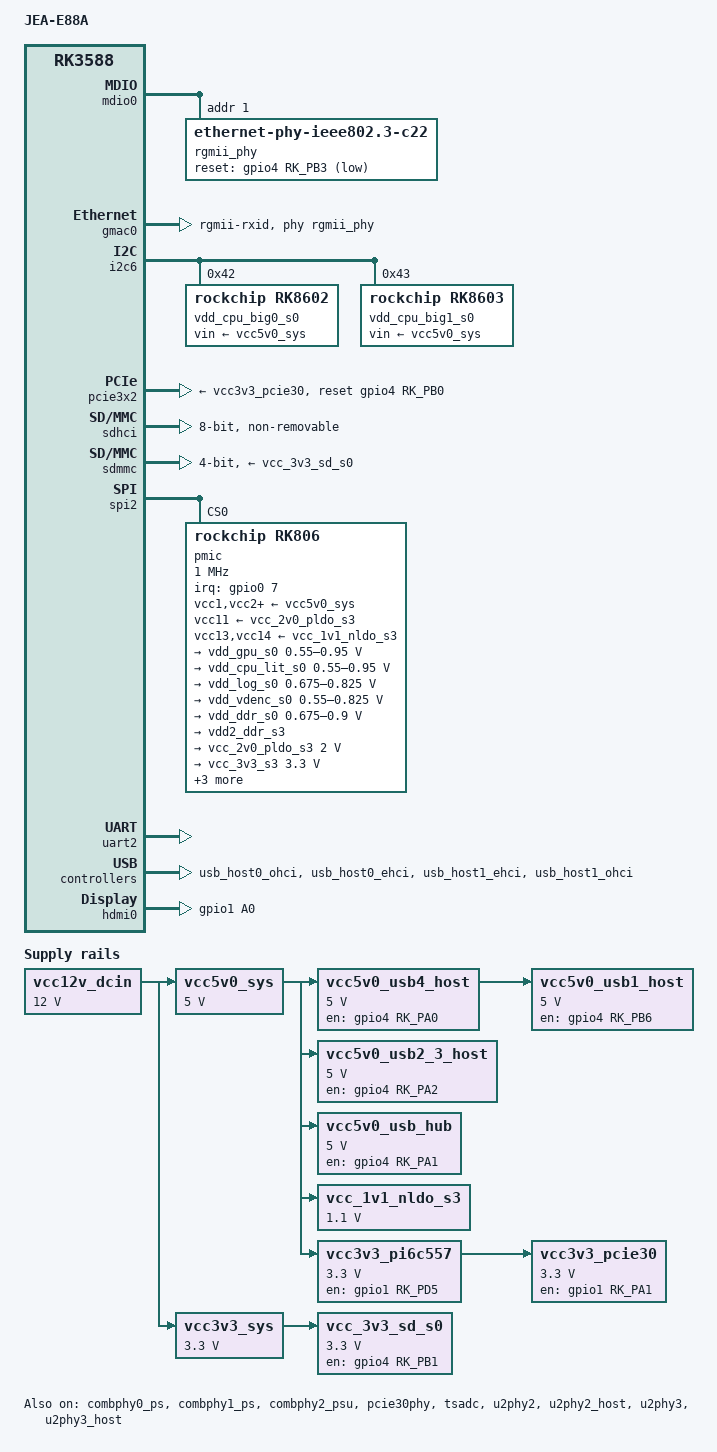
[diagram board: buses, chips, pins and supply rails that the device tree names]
// SPDX-License-Identifier: (GPL-2.0+ OR MIT)
/*
* Copyright (c) 2023 Ondřej Jirman <megi@xff.cz>
*/

/dts-v1/;

#include <dt-bindings/gpio/gpio.h>
#include <dt-bindings/leds/common.h>
#include <dt-bindings/input/input.h>
#include <dt-bindings/pinctrl/rockchip.h>
#include <dt-bindings/display/rockchip_vop.h>
#include <dt-bindings/usb/pd.h>
#include "rk3588.dtsi"

/ {
	model = "JEA-E88A";
	compatible = "jwipc,jea-e88a", "rockchip,rk3588";
	
	smbios {
		compatible = "u-boot,sysinfo-smbios";
		
		smbios {
			system {
				manufacturer = "JWIPC";
				product = "JEA-E88A";
			};
			
			baseboard {
				manufacturer = "JWIPC";
				product = "JEA-E88A";
			};
			
			chassis {
				manufacturer = "JWIPC";
				product = "JEA-E88A";
			};
		};
	};
	
	aliases {
		ethernet0 = &gmac0;
		mmc0 = &sdhci;
		mmc1 = &sdmmc;
		hdmi0 = &hdmi0;
		hdptxhdmi0 = &hdptxphy_hdmi0;
		dp0 = &dp0;
		usbdp0 = &usbdp_phy0;
		usbdp1 = &usbdp_phy1;
	};
	
	chosen {
		stdout-path = "serial2:1500000n8";
        u-boot,spl-boot-order = &sdmmc, &sdhci;
	};
	
	vcc12v_dcin: vcc12v-dcin {
		compatible = "regulator-fixed";
		regulator-always-on;
		regulator-boot-on;
		regulator-min-microvolt = <12000000>;
		regulator-max-microvolt = <12000000>;
		regulator-name = "vcc12v_dcin";
	};
	
	vcc5v0_sys: vcc5v0-sys-regulator {
		compatible = "regulator-fixed";
		regulator-name = "vcc5v0_sys";
		regulator-always-on;
		regulator-boot-on;
		regulator-min-microvolt = <5000000>;
		regulator-max-microvolt = <5000000>;
		vin-supply = <&vcc12v_dcin>;
	};
	
	vcc5v0_usb4_host: vcc5v0-usb4-host {
		compatible = "regulator-fixed";
		enable-active-high;
		gpio = <&gpio4 RK_PA0 GPIO_ACTIVE_HIGH>;
		pinctrl-names = "default";
		pinctrl-0 = <&usb4_pwr>;
		regulator-min-microvolt = <5000000>;
		regulator-max-microvolt = <5000000>;
		regulator-name = "vcc5v0_usb4_host";
		vin-supply = <&vcc5v0_sys>;
	};
	
	vcc5v0_usb1_host: vcc5v0-usb1-host {
		compatible = "regulator-fixed";
		enable-active-high;
		regulator-always-on;
		regulator-boot-on;
		gpio = <&gpio4 RK_PB6 GPIO_ACTIVE_HIGH>;
		pinctrl-names = "default";
		pinctrl-0 = <&usb1_pwr>;
		regulator-min-microvolt = <5000000>;
		regulator-max-microvolt = <5000000>;
		regulator-name = "vcc5v0_usb1_host";
		vin-supply = <&vcc5v0_usb4_host>;
	};
	
	vcc5v0_usb2_3_host: vcc5v0-usb2-3-host {
		compatible = "regulator-fixed";
		enable-active-high;
		gpio = <&gpio4 RK_PA2 GPIO_ACTIVE_HIGH>;
		pinctrl-names = "default";
		pinctrl-0 = <&usb2_3_pwr>;
		regulator-min-microvolt = <5000000>;
		regulator-max-microvolt = <5000000>;
		regulator-name = "vcc5v0_usb2_3_host";
		vin-supply = <&vcc5v0_sys>;
	};
	
	
	vcc5v0_usb_hub: vcc5v0-usb-hub {
		compatible = "regulator-fixed";
		enable-active-high;
		regulator-always-on;
		regulator-boot-on;
		gpio = <&gpio4 RK_PA1 GPIO_ACTIVE_HIGH>;
		pinctrl-names = "default";
		pinctrl-0 = <&gl3523_rst>;
		regulator-min-microvolt = <5000000>;
		regulator-max-microvolt = <5000000>;
		regulator-name = "vcc5v0_usb_hub";
		vin-supply = <&vcc5v0_sys>;
	};
	
	vcc3v3_sys: vcc3v3-sys {
		compatible = "regulator-fixed";
		regulator-name = "vcc3v3_sys";
		regulator-always-on;
		regulator-boot-on;
		regulator-min-microvolt = <3300000>;
		regulator-max-microvolt = <3300000>;
		vin-supply = <&vcc12v_dcin>;
	};
	
	vcc_3v3_sd_s0: vcc-3v3-sd-s0-regulator {
		compatible = "regulator-fixed";
		regulator-name = "vcc_3v3_sd_s0";
		regulator-min-microvolt = <3300000>;
		regulator-max-microvolt = <3300000>;
		enable-active-high;
		gpio = <&gpio4 RK_PB1 GPIO_ACTIVE_HIGH>;
		pinctrl-names = "default";
		pinctrl-0 = <&sd_s0_pwr>;
		vin-supply = <&vcc3v3_sys>;
	};
	
	vcc_1v1_nldo_s3: vcc-1v1-nldo-s3-regulator {
		compatible = "regulator-fixed";
		regulator-name = "vcc_1v1_nldo_s3";
		regulator-always-on;
		regulator-boot-on;
		regulator-min-microvolt = <1100000>;
		regulator-max-microvolt = <1100000>;
		vin-supply = <&vcc5v0_sys>;
	};
	
	vcc3v3_pi6c557: vcc3v3-pi6c557 {
		compatible = "regulator-fixed";
		regulator-name = "vcc3v3_pi6c557";
		regulator-min-microvolt = <3300000>;
		regulator-max-microvolt = <3300000>;
		regulator-always-on;
		regulator-boot-on;
		enable-active-high;
		gpio = <&gpio1 RK_PD5 GPIO_ACTIVE_HIGH>;
		startup-delay-us = <5000>;
		vin-supply = <&vcc5v0_sys>;
	};
	
	vcc3v3_pcie30: vcc3v3-pcie30 {
		compatible = "regulator-fixed";
		regulator-name = "vcc3v3_pcie30";
		regulator-min-microvolt = <3300000>;
		regulator-max-microvolt = <3300000>;
		enable-active-high;
		gpio = <&gpio1 RK_PA1 GPIO_ACTIVE_HIGH>;
		startup-delay-us = <5000>;
		vin-supply = <&vcc3v3_pi6c557>;
	};
};

&mdio0 {
	rgmii_phy: ethernet-phy@1 {
		/* RTL8211F */
		compatible = "ethernet-phy-ieee802.3-c22";
		reg = <0x1>;
		pinctrl-names = "default";
		pinctrl-0 = <&rtl8211f_rst>;
		reset-assert-us = <20000>;
		reset-deassert-us = <100000>;
		reset-gpios = <&gpio4 RK_PB3 GPIO_ACTIVE_LOW>;
	};
};

&gmac0 {
	clock_in_out = "output";
	phy-handle = <&rgmii_phy>;
	phy-mode = "rgmii-rxid";
	pinctrl-0 = <&gmac0_miim
	&gmac0_tx_bus2
	&gmac0_rx_bus2
	&gmac0_rgmii_clk
	&gmac0_rgmii_bus>;
	pinctrl-names = "default";
	rx_delay = <0x00>;
	tx_delay = <0x43>;
	status = "okay";
};

&combphy0_ps {
	status = "okay";
};

&combphy1_ps {
	status = "okay";
};

&combphy2_psu {
	status = "okay";
};

&cpu_b0 {
	cpu-supply = <&vdd_cpu_big0_s0>;
};

&cpu_b1 {
	cpu-supply = <&vdd_cpu_big0_s0>;
};

&cpu_b2 {
	cpu-supply = <&vdd_cpu_big1_s0>;
};

&cpu_b3 {
	cpu-supply = <&vdd_cpu_big1_s0>;
};

&cpu_l0 {
	cpu-supply = <&vdd_cpu_lit_s0>;
};

&cpu_l1 {
	cpu-supply = <&vdd_cpu_lit_s0>;
};

&cpu_l2 {
	cpu-supply = <&vdd_cpu_lit_s0>;
};

&cpu_l3 {
	cpu-supply = <&vdd_cpu_lit_s0>;
};

&i2c6 {
	status = "okay";
	
	vdd_cpu_big0_s0: regulator@42 {
		compatible = "rockchip,rk8602";
		reg = <0x42>;
		fcs,suspend-voltage-selector = <1>;
		regulator-name = "vdd_cpu_big0_s0";
		regulator-always-on;
		regulator-boot-on;
		regulator-min-microvolt = <550000>;
		regulator-max-microvolt = <1050000>;
		regulator-ramp-delay = <2300>;
		vin-supply = <&vcc5v0_sys>;
		
		regulator-state-mem {
			regulator-off-in-suspend;
		};
	};
	
	vdd_cpu_big1_s0: regulator@43 {
		compatible = "rockchip,rk8603", "rockchip,rk8602";
		reg = <0x43>;
		fcs,suspend-voltage-selector = <1>;
		regulator-name = "vdd_cpu_big1_s0";
		regulator-always-on;
		regulator-boot-on;
		regulator-min-microvolt = <550000>;
		regulator-max-microvolt = <1050000>;
		regulator-ramp-delay = <2300>;
		vin-supply = <&vcc5v0_sys>;
		
		regulator-state-mem {
			regulator-off-in-suspend;
		};
	};
};

&pcie30phy {
	data-lanes = <2 2 3>;
	status = "okay";
};

&pcie3x2 {
	reset-gpios = <&gpio4 RK_PB0 GPIO_ACTIVE_HIGH>;
	vpcie3v3-supply = <&vcc3v3_pcie30>;
	status = "okay";
};

&pinctrl {
	sdmmc {
		sd_s0_pwr: sd-s0-pwr {
			rockchip,pins = <4 RK_PB1 RK_FUNC_GPIO &pcfg_pull_up>;
		};
	};
	
	rtl8211f {
		rtl8211f_rst: rtl8211f-rst {
			rockchip,pins = <4 RK_PB3 RK_FUNC_GPIO &pcfg_pull_none>;
		};
	};

	usb {
		usb1_pwr: usb1-pwr {
			rockchip,pins = <4 RK_PB6 RK_FUNC_GPIO &pcfg_pull_up>;
		};
		
		usb2_3_pwr: usb2-3-pwr {
			rockchip,pins = <4 RK_PA2 RK_FUNC_GPIO &pcfg_pull_up>;
		};
		
		usb4_pwr: usb4-pwr {
			rockchip,pins = <4 RK_PA0 RK_FUNC_GPIO &pcfg_pull_up>;
		};
		
		gl3523_rst: gl3523-rst {
			rockchip,pins = <4 RK_PA1 RK_FUNC_GPIO &pcfg_pull_up>;
		};
	};
	
	hdmi0 {
		hdmi_pwren_gpio: hdmi-pwren-gpio {
			rockchip,pins = <1 RK_PA0 RK_FUNC_GPIO &pcfg_pull_up>;
		};
	};
};

&sdhci {
	bus-width = <8>;
	no-sdio;
	no-sd;
	non-removable;
	max-frequency = <200000000>;
	mmc-hs200-1_8v;
	status = "okay";
};

&sdmmc {
	max-frequency = <150000000>;
	no-sdio;
	no-mmc;
	bus-width = <4>;
	cap-mmc-highspeed;
	cap-sd-highspeed;
	disable-wp;
	sd-uhs-sdr104;
	vmmc-supply = <&vcc_3v3_sd_s0>;
	vqmmc-supply = <&vccio_sd_s0>;
	status = "okay";
};

&spi2 {
	assigned-clocks = <&cru CLK_SPI2>;
	assigned-clock-rates = <200000000>;
	num-cs = <1>;
	pinctrl-names = "default";
	pinctrl-0 = <&spi2m2_cs0 &spi2m2_pins>;
	status = "okay";
	
	pmic@0 {
		compatible = "rockchip,rk806";
		reg = <0x0>;
		interrupt-parent = <&gpio0>;
		interrupts = <7 IRQ_TYPE_LEVEL_LOW>;
		pinctrl-names = "default", "pmic-power-off";
		pinctrl-0 = <&pmic_pins>, <&rk806_dvs1_null>,
		<&rk806_dvs2_null>, <&rk806_dvs3_null>;
		pinctrl-1 = <&rk806_dvs1_pwrdn>;
		spi-max-frequency = <1000000>;
		
		vcc1-supply = <&vcc5v0_sys>;
		vcc2-supply = <&vcc5v0_sys>;
		vcc3-supply = <&vcc5v0_sys>;
		vcc4-supply = <&vcc5v0_sys>;
		vcc5-supply = <&vcc5v0_sys>;
		vcc6-supply = <&vcc5v0_sys>;
		vcc7-supply = <&vcc5v0_sys>;
		vcc8-supply = <&vcc5v0_sys>;
		vcc9-supply = <&vcc5v0_sys>;
		vcc10-supply = <&vcc5v0_sys>;
		vcc11-supply = <&vcc_2v0_pldo_s3>;
		vcc12-supply = <&vcc5v0_sys>;
		vcc13-supply = <&vcc_1v1_nldo_s3>;
		vcc14-supply = <&vcc_1v1_nldo_s3>;
		vcca-supply = <&vcc5v0_sys>;
		
		gpio-controller;
		#gpio-cells = <2>;
		
		rk806_dvs1_null: dvs1-null-pins {
			pins = "gpio_pwrctrl2";
			function = "pin_fun0";
		};
		
		rk806_dvs2_null: dvs2-null-pins {
			pins = "gpio_pwrctrl2";
			function = "pin_fun0";
		};
		
		rk806_dvs3_null: dvs3-null-pins {
			pins = "gpio_pwrctrl3";
			function = "pin_fun0";
		};
		
		rk806_dvs1_pwrdn: rk806-dvs1-pwrdn {
			pins = "gpio_pwrctrl1";
			function = "pin_fun2";
		};
		
		regulators {
			vdd_gpu_s0: dcdc-reg1 {
				regulator-name = "vdd_gpu_s0";
				regulator-boot-on;
				regulator-enable-ramp-delay = <400>;
				regulator-min-microvolt = <550000>;
				regulator-max-microvolt = <950000>;
				regulator-ramp-delay = <12500>;
				
				regulator-state-mem {
					regulator-off-in-suspend;
				};
			};
			
			vdd_cpu_lit_s0: dcdc-reg2 {
				regulator-name = "vdd_cpu_lit_s0";
				regulator-always-on;
				regulator-boot-on;
				regulator-min-microvolt = <550000>;
				regulator-max-microvolt = <950000>;
				regulator-ramp-delay = <12500>;
				
				regulator-state-mem {
					regulator-off-in-suspend;
				};
			};
			
			vdd_log_s0: dcdc-reg3 {
				regulator-name = "vdd_log_s0";
				regulator-always-on;
				regulator-boot-on;
				regulator-min-microvolt = <675000>;
				regulator-max-microvolt = <825000>;
				regulator-ramp-delay = <12500>;
				
				regulator-state-mem {
					regulator-off-in-suspend;
					regulator-suspend-microvolt = <750000>;
				};
			};
			
			vdd_vdenc_s0: dcdc-reg4 {
				regulator-name = "vdd_vdenc_s0";
				regulator-always-on;
				regulator-boot-on;
				regulator-min-microvolt = <550000>;
				regulator-max-microvolt = <825000>;
				regulator-ramp-delay = <12500>;
				
				regulator-state-mem {
					regulator-off-in-suspend;
				};
			};
			
			vdd_ddr_s0: dcdc-reg5 {
				regulator-name = "vdd_ddr_s0";
				regulator-always-on;
				regulator-boot-on;
				regulator-min-microvolt = <675000>;
				regulator-max-microvolt = <900000>;
				regulator-ramp-delay = <12500>;
				
				regulator-state-mem {
					regulator-off-in-suspend;
					regulator-suspend-microvolt = <850000>;
				};
			};
			
			vdd2_ddr_s3: dcdc-reg6 {
				regulator-name = "vdd2_ddr_s3";
				regulator-always-on;
				regulator-boot-on;
				
				regulator-state-mem {
					regulator-on-in-suspend;
				};
			};
			
			vcc_2v0_pldo_s3: dcdc-reg7 {
				regulator-name = "vdd_2v0_pldo_s3";
				regulator-always-on;
				regulator-boot-on;
				regulator-min-microvolt = <2000000>;
				regulator-max-microvolt = <2000000>;
				regulator-ramp-delay = <12500>;
				
				regulator-state-mem {
					regulator-on-in-suspend;
					regulator-suspend-microvolt = <2000000>;
				};
			};
			
			vcc_3v3_s3: dcdc-reg8 {
				regulator-name = "vcc_3v3_s3";
				regulator-always-on;
				regulator-boot-on;
				regulator-min-microvolt = <3300000>;
				regulator-max-microvolt = <3300000>;
				
				regulator-state-mem {
					regulator-on-in-suspend;
					regulator-suspend-microvolt = <3300000>;
				};
			};
			
			vddq_ddr_s0: dcdc-reg9 {
				regulator-name = "vddq_ddr_s0";
				regulator-always-on;
				regulator-boot-on;
				
				regulator-state-mem {
					regulator-off-in-suspend;
				};
			};
			
			vcc_1v8_s3: dcdc-reg10 {
				regulator-name = "vcc_1v8_s3";
				regulator-always-on;
				regulator-boot-on;
				regulator-min-microvolt = <1800000>;
				regulator-max-microvolt = <1800000>;
				
				regulator-state-mem {
					regulator-on-in-suspend;
					regulator-suspend-microvolt = <1800000>;
				};
			};
			
			avcc_1v8_s0: pldo-reg1 {
				regulator-name = "avcc_1v8_s0";
				regulator-always-on;
				regulator-boot-on;
				regulator-min-microvolt = <1800000>;
				regulator-max-microvolt = <1800000>;
				
				regulator-state-mem {
					regulator-off-in-suspend;
					regulator-suspend-microvolt = <1800000>;
				};
			};
			
			/* shorted to avcc_1v8_s0 on the board */
			vcc_1v8_s0: pldo-reg2 {
				regulator-name = "vcc_1v8_s0";
				regulator-always-on;
				regulator-boot-on;
				regulator-min-microvolt = <1800000>;
				regulator-max-microvolt = <1800000>;
				
				regulator-state-mem {
					regulator-off-in-suspend;
					regulator-suspend-microvolt = <1800000>;
				};
			};
			
			avdd_1v2_s0: pldo-reg3 {
				regulator-name = "avdd_1v2_s0";
				regulator-always-on;
				regulator-boot-on;
				regulator-min-microvolt = <1200000>;
				regulator-max-microvolt = <1200000>;
				
				regulator-state-mem {
					regulator-off-in-suspend;
				};
			};
			
			vcc_3v3_s0: pldo-reg4 {
				regulator-name = "vcc_3v3_s0";
				regulator-always-on;
				regulator-boot-on;
				regulator-min-microvolt = <3300000>;
				regulator-max-microvolt = <3300000>;
				regulator-ramp-delay = <12500>;
				
				regulator-state-mem {
					regulator-off-in-suspend;
				};
			};
			
			vccio_sd_s0: pldo-reg5 {
				regulator-name = "vccio_sd_s0";
				regulator-always-on;
				regulator-boot-on;
				regulator-min-microvolt = <1800000>;
				regulator-max-microvolt = <3300000>;
				regulator-ramp-delay = <12500>;
				
				regulator-state-mem {
					regulator-off-in-suspend;
				};
			};
			
			pldo6_s3: pldo-reg6 {
				regulator-name = "pldo6_s3";
				regulator-always-on;
				regulator-boot-on;
				regulator-min-microvolt = <1800000>;
				regulator-max-microvolt = <1800000>;
				
				regulator-state-mem {
					regulator-on-in-suspend;
					regulator-suspend-microvolt = <1800000>;
				};
			};
			
			vdd_0v75_s3: nldo-reg1 {
				regulator-name = "vdd_0v75_s3";
				regulator-always-on;
				regulator-boot-on;
				regulator-min-microvolt = <750000>;
				regulator-max-microvolt = <750000>;
				
				regulator-state-mem {
					regulator-on-in-suspend;
					regulator-suspend-microvolt = <750000>;
				};
			};
			
			vdd_ddr_pll_s0: nldo-reg2 {
				regulator-name = "vdd_ddr_pll_s0";
				regulator-always-on;
				regulator-boot-on;
				regulator-min-microvolt = <850000>;
				regulator-max-microvolt = <850000>;
				
				regulator-state-mem {
					regulator-off-in-suspend;
					regulator-suspend-microvolt = <850000>;
				};
			};
			
			avdd_0v75_s0: nldo-reg3 {
				regulator-name = "avdd_0v75_s0";
				regulator-always-on;
				regulator-boot-on;
				/*
				* The schematic mentions that actual setting
				* should be 0.8375V. RK3588 datasheet specifies
				* maximum as 0.825V. So we set datasheet max
				* here.
				*/
				regulator-min-microvolt = <825000>;
				regulator-max-microvolt = <825000>;
				
				regulator-state-mem {
					regulator-off-in-suspend;
				};
			};
			
			vdd_0v85_s0: nldo-reg4 {
				regulator-name = "vdd_0v85_s0";
				regulator-always-on;
				regulator-boot-on;
				regulator-min-microvolt = <850000>;
				regulator-max-microvolt = <850000>;
				
				regulator-state-mem {
					regulator-off-in-suspend;
				};
			};
			
			vdd_0v75_s0: nldo-reg5 {
				regulator-name = "vdd_0v75_s0";
				regulator-always-on;
				regulator-boot-on;
				regulator-min-microvolt = <750000>;
				regulator-max-microvolt = <750000>;
				
				regulator-state-mem {
					regulator-off-in-suspend;
				};
			};
		};
	};
};

&tsadc {
	status = "okay";
};

&uart2 {
	pinctrl-0 = <&uart2m0_xfer>;
	status = "okay";
};

&u2phy2 {
	status = "okay";
};

&u2phy2_host {
	phy-supply = <&vcc5v0_usb4_host>;
	status = "okay";
};

&usb_host0_ohci {
	status = "okay";
};

&usb_host0_ehci {
	status = "okay";
};

&u2phy3 {
	status = "okay";
};

&u2phy3_host {
	phy-supply = <&vcc5v0_usb2_3_host>;
	status = "okay";
};

&usb_host1_ehci {
	status = "okay";
};

&usb_host1_ohci {
	status = "okay";
};

&hdmi0 {
	status = "okay";
	pinctrl-0 = <&hdmi_pwren_gpio &hdmim0_tx0_hpd &hdmim2_tx0_scl &hdmim2_tx0_sda>;
	enable-gpios = <&gpio3 RK_PD3 GPIO_ACTIVE_HIGH>;
};

// &sata1 {
// 	status = "okay";
// 	phys = <&combphy1_ps PHY_TYPE_SATA>;
// 	phy-names = "sata-phy";
// };

// &combphy1_ps {
// 	status = "okay";
// };
